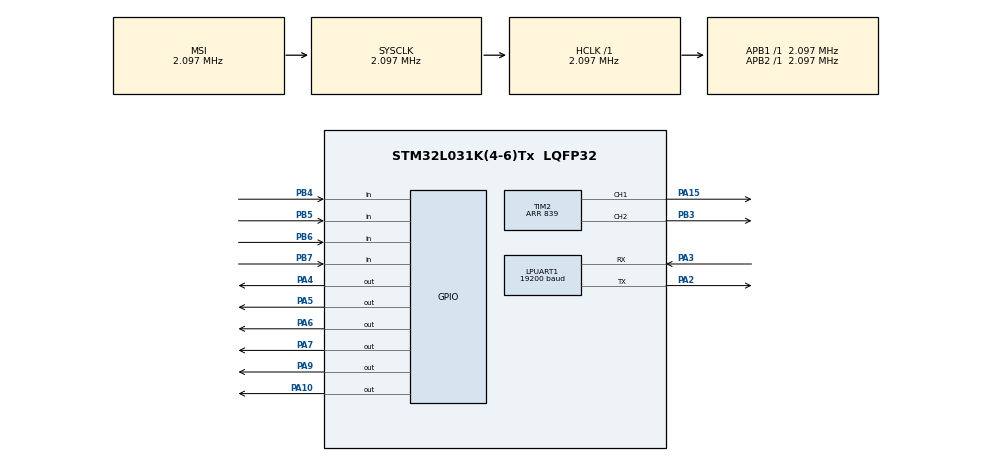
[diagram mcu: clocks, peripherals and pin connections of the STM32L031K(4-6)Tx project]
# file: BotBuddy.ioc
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LPUART1.BaudRate=19200
LPUART1.WordLength=UART_WORDLENGTH_8B
Mcu.Family=STM32L0
Mcu.Name=STM32L031K(4-6)Tx
Mcu.Package=LQFP32
PA10.Signal=GPIO_Output
PA15.Signal=S_TIM2_CH1
PA2.Mode=Asynchronous
PA2.Signal=LPUART1_TX
PA3.Mode=Asynchronous
PA3.Signal=LPUART1_RX
PA4.GPIO_Speed=GPIO_SPEED_FREQ_LOW
PA4.PinState=GPIO_PIN_RESET
PA4.Signal=GPIO_Output
PA5.GPIO_Speed=GPIO_SPEED_FREQ_LOW
PA5.PinState=GPIO_PIN_RESET
PA5.Signal=GPIO_Output
PA6.GPIO_Speed=GPIO_SPEED_FREQ_LOW
PA6.PinState=GPIO_PIN_RESET
PA6.Signal=GPIO_Output
PA7.GPIO_Speed=GPIO_SPEED_FREQ_LOW
PA7.PinState=GPIO_PIN_RESET
PA7.Signal=GPIO_Output
PA9.Signal=GPIO_Output
PB3.Signal=S_TIM2_CH2
PB4.Signal=GPIO_Input
PB5.Signal=GPIO_Input
PB6.Signal=GPIO_Input
PB7.Signal=GPIO_Input
ProjectManager.HeapSize=0x200
ProjectManager.StackSize=0x400
ProjectManager.TargetToolchain=STM32CubeIDE
RCC.AHBFreq_Value=2097000
RCC.APB1Freq_Value=2097000
RCC.APB1TimFreq_Value=2097000
RCC.APB2Freq_Value=2097000
RCC.APB2TimFreq_Value=2097000
RCC.HSE_VALUE=8000000
RCC.HSI16_VALUE=16000000
RCC.HSI_VALUE=16000000
RCC.LSE_VALUE=32768
RCC.MSI_VALUE=2097000
RCC.SYSCLKFreq_VALUE=2097000
RCC.VCOOutputFreq_Value=48000000
SH.S_TIM2_CH1.0=TIM2_CH1,PWM Generation1 CH1
SH.S_TIM2_CH2.0=TIM2_CH2,PWM Generation2 CH2
TIM2.Channel-PWM\ Generation1\ CH1=TIM_CHANNEL_1
TIM2.Channel-PWM\ Generation2\ CH2=TIM_CHANNEL_2
TIM2.Period=839
board=custom

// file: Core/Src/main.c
/* USER CODE BEGIN Header */
/**
  ******************************************************************************
  * @file           : main.c
  * @brief          : Main program body
  ******************************************************************************
  * @attention
  *
  * Copyright (c) 2024 STMicroelectronics.
  * All rights reserved.
  *
  * This software is licensed under terms that can be found in the LICENSE file
  * in the root directory of this software component.
  * If no LICENSE file comes with this software, it is provided AS-IS.
  *
  ******************************************************************************
  */
/* USER CODE END Header */
#include "main.h"

/* USER CODE BEGIN PD */
#define PWM_PERIOD	839

/* Define constants for our movements */
#define FORWARD		0
#define BACKWARD	1
#define LEFT		2
#define RIGHT		3
#define STOP		4
#define SPEED_CHANGE 5

/* POWER = 0 means off and POWER = 1 ON */
#define POWER 	16

/* USER CODE END PD */

/* USER CODE BEGIN PM */
/* Create Global Struct for the BotBuddy */
typedef struct {
	unsigned char power;
	volatile unsigned char button_state; // each bit represents [X, X, X, power, forward, backward, left, right]
	volatile int read_flag; // read flag to indicate that we want to decode a value from the receiver
	volatile unsigned char read_buf; // read buffer to update the buttons state with
	unsigned int rot_speed; // how fast our motor is spinning
}Bot_Buddy;

volatile int speed_array[] = {50, 75, 100}; // [X, X, X, X, write, t2, t1, t0]
volatile int speed_idx = 0;

/* USER CODE END PM */

UART_HandleTypeDef hlpuart1;

TIM_HandleTypeDef htim2;

/* USER CODE BEGIN PV */

/* define our struct */
Bot_Buddy b_buddy;

/* USER CODE END PV */

void SystemClock_Config(void);
static void MX_GPIO_Init(void);
static void MX_TIM2_Init(void);
static void MX_LPUART1_UART_Init(void);
/* USER CODE BEGIN PFP */

void event_loop(void);
static void BT_BUDDY_Init(void);
static void RUN_MOTOR(void);
static void READ_CONTROLLER(void);
static void DECODE_CONTROLLER(void);

/* USER CODE END PFP */

int main(void)
{

  /* MCU Configuration--------------------------------------------------------*/

  /* Reset of all peripherals, Initializes the Flash interface and the Systick. */
  HAL_Init();

  /* USER CODE BEGIN Init */

  /* Initialize our bot buddy */
   BT_BUDDY_Init();

  /* USER CODE END Init */

  /* Configure the system clock */
  SystemClock_Config();

  /* Initialize all configured peripherals */
  MX_GPIO_Init();
  MX_TIM2_Init();
  MX_LPUART1_UART_Init();
  /* USER CODE BEGIN 2 */
  RUN_MOTOR();
  event_loop();
  /* USER CODE END 2 */

  /* Infinite loop */
  while (1)
  {

  }
}

void SystemClock_Config(void)
{
  RCC_OscInitTypeDef RCC_OscInitStruct = {0};
  RCC_ClkInitTypeDef RCC_ClkInitStruct = {0};
  RCC_PeriphCLKInitTypeDef PeriphClkInit = {0};

  /** Configure the main internal regulator output voltage
  */
  __HAL_PWR_VOLTAGESCALING_CONFIG(PWR_REGULATOR_VOLTAGE_SCALE1);

  /** Initializes the RCC Oscillators according to the specified parameters
  * in the RCC_OscInitTypeDef structure.
  */
  RCC_OscInitStruct.OscillatorType = RCC_OSCILLATORTYPE_MSI;
  RCC_OscInitStruct.MSIState = RCC_MSI_ON;
  RCC_OscInitStruct.MSICalibrationValue = 0;
  RCC_OscInitStruct.MSIClockRange = RCC_MSIRANGE_5;
  RCC_OscInitStruct.PLL.PLLState = RCC_PLL_NONE;
  if (HAL_RCC_OscConfig(&RCC_OscInitStruct) != HAL_OK)
  {
    Error_Handler();
  }

  /** Initializes the CPU, AHB and APB buses clocks
  */
  RCC_ClkInitStruct.ClockType = RCC_CLOCKTYPE_HCLK|RCC_CLOCKTYPE_SYSCLK
                              |RCC_CLOCKTYPE_PCLK1|RCC_CLOCKTYPE_PCLK2;
  RCC_ClkInitStruct.SYSCLKSource = RCC_SYSCLKSOURCE_MSI;
  RCC_ClkInitStruct.AHBCLKDivider = RCC_SYSCLK_DIV1;
  RCC_ClkInitStruct.APB1CLKDivider = RCC_HCLK_DIV1;
  RCC_ClkInitStruct.APB2CLKDivider = RCC_HCLK_DIV1;

  if (HAL_RCC_ClockConfig(&RCC_ClkInitStruct, FLASH_LATENCY_0) != HAL_OK)
  {
    Error_Handler();
  }
  PeriphClkInit.PeriphClockSelection = RCC_PERIPHCLK_LPUART1;
  PeriphClkInit.Lpuart1ClockSelection = RCC_LPUART1CLKSOURCE_PCLK1;
  if (HAL_RCCEx_PeriphCLKConfig(&PeriphClkInit) != HAL_OK)
  {
    Error_Handler();
  }
}

static void MX_LPUART1_UART_Init(void)
{

  hlpuart1.Instance = LPUART1;
  hlpuart1.Init.BaudRate = 19200;
  hlpuart1.Init.WordLength = UART_WORDLENGTH_8B;
  hlpuart1.Init.StopBits = UART_STOPBITS_1;
  hlpuart1.Init.Parity = UART_PARITY_NONE;
  hlpuart1.Init.Mode = UART_MODE_TX_RX;
  hlpuart1.Init.HwFlowCtl = UART_HWCONTROL_NONE;
  hlpuart1.Init.OneBitSampling = UART_ONE_BIT_SAMPLE_DISABLE;
  hlpuart1.AdvancedInit.AdvFeatureInit = UART_ADVFEATURE_NO_INIT;
  if (HAL_UART_Init(&hlpuart1) != HAL_OK)
  {
    Error_Handler();
  }

}

static void MX_TIM2_Init(void)
{

  TIM_MasterConfigTypeDef sMasterConfig = {0};
  TIM_OC_InitTypeDef sConfigOC = {0};

  htim2.Instance = TIM2;
  htim2.Init.Prescaler = 0;
  htim2.Init.CounterMode = TIM_COUNTERMODE_UP;
  htim2.Init.Period = 839;
  htim2.Init.ClockDivision = TIM_CLOCKDIVISION_DIV1;
  htim2.Init.AutoReloadPreload = TIM_AUTORELOAD_PRELOAD_DISABLE;
  if (HAL_TIM_PWM_Init(&htim2) != HAL_OK)
  {
    Error_Handler();
  }
  sMasterConfig.MasterOutputTrigger = TIM_TRGO_RESET;
  sMasterConfig.MasterSlaveMode = TIM_MASTERSLAVEMODE_DISABLE;
  if (HAL_TIMEx_MasterConfigSynchronization(&htim2, &sMasterConfig) != HAL_OK)
  {
    Error_Handler();
  }
  sConfigOC.OCMode = TIM_OCMODE_PWM1;
  sConfigOC.Pulse = 0;
  sConfigOC.OCPolarity = TIM_OCPOLARITY_HIGH;
  sConfigOC.OCFastMode = TIM_OCFAST_DISABLE;
  if (HAL_TIM_PWM_ConfigChannel(&htim2, &sConfigOC, TIM_CHANNEL_1) != HAL_OK)
  {
    Error_Handler();
  }
  if (HAL_TIM_PWM_ConfigChannel(&htim2, &sConfigOC, TIM_CHANNEL_2) != HAL_OK)
  {
    Error_Handler();
  }
  HAL_TIM_MspPostInit(&htim2);

}

static void MX_GPIO_Init(void)
{
  GPIO_InitTypeDef GPIO_InitStruct = {0};

  /* GPIO Ports Clock Enable */
  __HAL_RCC_GPIOA_CLK_ENABLE();
  __HAL_RCC_GPIOB_CLK_ENABLE();

  /*Configure GPIO pin Output Level */
  HAL_GPIO_WritePin(GPIOA, GPIO_PIN_4|GPIO_PIN_5|GPIO_PIN_6|GPIO_PIN_7
                          |GPIO_PIN_9|GPIO_PIN_10, GPIO_PIN_RESET);

  /*Configure GPIO pins : PA4 PA5 PA6 PA7
                           PA9 PA10 */
  GPIO_InitStruct.Pin = GPIO_PIN_4|GPIO_PIN_5|GPIO_PIN_6|GPIO_PIN_7
                          |GPIO_PIN_9|GPIO_PIN_10;
  GPIO_InitStruct.Mode = GPIO_MODE_OUTPUT_PP;
  GPIO_InitStruct.Pull = GPIO_NOPULL;
  GPIO_InitStruct.Speed = GPIO_SPEED_FREQ_LOW;
  HAL_GPIO_Init(GPIOA, &GPIO_InitStruct);

  /*Configure GPIO pins : PB4 PB5 PB6 PB7 */
  GPIO_InitStruct.Pin = GPIO_PIN_4|GPIO_PIN_5|GPIO_PIN_6|GPIO_PIN_7;
  GPIO_InitStruct.Mode = GPIO_MODE_INPUT;
  GPIO_InitStruct.Pull = GPIO_NOPULL;
  HAL_GPIO_Init(GPIOB, &GPIO_InitStruct);

}

/* USER CODE BEGIN 4 */

/* Event loop that handles our botbuddy when it is running */
void event_loop(void) {

	while (1) {

		while(!b_buddy.read_flag){

			READ_CONTROLLER();
		}

		DECODE_CONTROLLER();
		b_buddy.button_state = (~b_buddy.read_buf) & 0x07;

		switch(b_buddy.button_state){
			/* GPIO_PIN_11 -> write pin
			 * GPIO_PIN_10 -> t2
			 * GPIO_PIN_10 -> t1
			 * GPIO_PIN_10 -> t0
			 * Our encodings are active low because the transmitter is
			 */
			case FORWARD:
				/* set write pin, and [t2, t1, t0] = [0, 0, 0] */
				//HAL_GPIO_WritePin(GPIOA, GPIO_PIN_6 | GPIO_PIN_5 | GPIO_PIN_4, 0);
				HAL_GPIO_WritePin(GPIOA, GPIO_PIN_7 | GPIO_PIN_5, 1);
				HAL_GPIO_WritePin(GPIOA, GPIO_PIN_10 | GPIO_PIN_9, 0);

				/* Test for debugging */
				uint8_t Test1[] = "Forward!/n";
				HAL_UART_Transmit(&hlpuart1, Test1, sizeof(Test1), 10);

				break;

			case BACKWARD:
				/* set write pin, and [t2, t1, t0] = [0, 0, 1] */
//				HAL_GPIO_WritePin(GPIOA, GPIO_PIN_6 | GPIO_PIN_5, 0);
//				HAL_GPIO_WritePin(GPIOA, GPIO_PIN_4, 1);
				HAL_GPIO_WritePin(GPIOA, GPIO_PIN_10 | GPIO_PIN_9, 1);
				HAL_GPIO_WritePin(GPIOA, GPIO_PIN_7 | GPIO_PIN_5, 0);

				/* Test for debugging */
				uint8_t Test2[] = "Backward!/n";
				HAL_UART_Transmit(&hlpuart1, Test2, sizeof(Test2), 10);

				break;

			case LEFT:
				/* set write pin, and [t2, t1, t0] = [0, 1, 0] */
//				HAL_GPIO_WritePin(GPIOA, GPIO_PIN_6 | GPIO_PIN_4, 0);
//				HAL_GPIO_WritePin(GPIOA, GPIO_PIN_5, 1);
//				HAL_GPIO_WritePin(GPIOA, GPIO_PIN_9 | GPIO_PIN_5, 1);
//				HAL_GPIO_WritePin(GPIOA, GPIO_PIN_7 | GPIO_PIN_10, 0);
				HAL_GPIO_WritePin(GPIOA, GPIO_PIN_7, 1);

				/* Test for debugging */
				uint8_t Test3[] = "Left!/n";
				HAL_UART_Transmit(&hlpuart1, Test3, sizeof(Test3), 10);

				break;

			case RIGHT:
				/* set write pin, and [t2, t1, t0] = [0, 1, 1] */
//				HAL_GPIO_WritePin(GPIOA, GPIO_PIN_6, 0);
//				HAL_GPIO_WritePin(GPIOA, GPIO_PIN_5 | GPIO_PIN_4, 1);
//				HAL_GPIO_WritePin(GPIOA, GPIO_PIN_7 | GPIO_PIN_10, 1);
//				HAL_GPIO_WritePin(GPIOA, GPIO_PIN_9 | GPIO_PIN_5, 0);
				HAL_GPIO_WritePin(GPIOA, GPIO_PIN_5, 1);

				/* Test for debugging */
				uint8_t Test4[] = "Right!/n";
				HAL_UART_Transmit(&hlpuart1, Test4, sizeof(Test4), 10);

				break;

			case STOP:
				/* set write pin, and [t2, t1, t0] = [0, 1, 1] */
//				HAL_GPIO_WritePin(GPIOA, GPIO_PIN_6, 1);
//				HAL_GPIO_WritePin(GPIOA, GPIO_PIN_5 | GPIO_PIN_4, 0);
				HAL_GPIO_WritePin(GPIOA, GPIO_PIN_7 | GPIO_PIN_10 | GPIO_PIN_5 | GPIO_PIN_9, 0);

				/* Test for debugging */
				uint8_t Test5[] = "Stop!/n";
				HAL_UART_Transmit(&hlpuart1, Test5, sizeof(Test5), 10);

				break;

			case SPEED_CHANGE:
			/* set write pin, and [t2, t1, t0] = [0, 1, 1] */
//				HAL_GPIO_WritePin(GPIOA, GPIO_PIN_6, 1);
//				HAL_GPIO_WritePin(GPIOA, GPIO_PIN_5 | GPIO_PIN_4, 0);
				HAL_GPIO_WritePin(GPIOA, GPIO_PIN_7 | GPIO_PIN_10 | GPIO_PIN_5 | GPIO_PIN_9, 0);
				if(b_buddy.rot_speed >= 100) {
					b_buddy.rot_speed = 50;
				}
				else {
					b_buddy.rot_speed = b_buddy.rot_speed + 10;
				}
				/* Test for debugging */
				uint8_t Test7[] = "Speed change!/n";
				HAL_UART_Transmit(&hlpuart1, Test7, sizeof(Test7), 10);

				break;
			}

//		/* Give a delay in order for the receiver to decode and write to the motors */
//		HAL_Delay(1000);
//
//		/* reset write pin, and [t2, t1, t0] = [1, 1, 1] */
//		HAL_GPIO_WritePin(GPIOA, GPIO_PIN_7 | GPIO_PIN_6 | GPIO_PIN_5 | GPIO_PIN_4, 1);
//
//		/* extra delay just to be safe? */
//		HAL_Delay(1000);

		/* Test for debugging */
		uint8_t Test6[] = "Done!\r\n";
		HAL_UART_Transmit(&hlpuart1, Test6, sizeof(Test6), 10);

		// reset button state
		b_buddy.button_state = 0x00;
		b_buddy.read_flag = 0;
		b_buddy.read_buf = 0;

		RUN_MOTOR();
		//HAL_Delay(100);
	}
}

/* Reads our GPIO pin*/
void READ_CONTROLLER(void) {
	if (HAL_GPIO_ReadPin (GPIOB, GPIO_PIN_7)) {b_buddy.read_flag = 1;}
//	else if (HAL_GPIO_ReadPin (GPIOB, GPIO_PIN_5)) {b_buddy.button_state = BACKWARD;}
//	else if (HAL_GPIO_ReadPin (GPIOB, GPIO_PIN_6)) {b_buddy.button_state = LEFT;}
//	else if (HAL_GPIO_ReadPin (GPIOB, GPIO_PIN_7)) {b_buddy.button_state = RIGHT;}
	else {b_buddy.read_flag = 0;}
}

/* Decode the output of the reciever */
void DECODE_CONTROLLER(void) {
	if (HAL_GPIO_ReadPin (GPIOB, GPIO_PIN_6)) {b_buddy.read_buf |= 4;}
	if (HAL_GPIO_ReadPin (GPIOB, GPIO_PIN_5)) {b_buddy.read_buf |= 2;}
	if (HAL_GPIO_ReadPin (GPIOB, GPIO_PIN_4)) {b_buddy.read_buf |= 1;}
}
/* Initialization funciton for our BotBuddy */
void BT_BUDDY_Init(void) {
	b_buddy.power = 0x00;
	b_buddy.button_state = 0x00;
	b_buddy.read_flag = 0;
	b_buddy.read_buf = 0;
	b_buddy.rot_speed = 50;
}

void RUN_MOTOR(void) {
	/* RIGHT MOTOR */
	HAL_TIM_PWM_Start(&htim2, TIM_CHANNEL_2);
	__HAL_TIM_SET_COMPARE(&htim2, TIM_CHANNEL_2, (PWM_PERIOD / 100) * b_buddy.rot_speed);

	/* LEFT MOTOR */
	HAL_TIM_PWM_Start(&htim2, TIM_CHANNEL_1);
	__HAL_TIM_SET_COMPARE(&htim2, TIM_CHANNEL_1, (PWM_PERIOD / 100) * b_buddy.rot_speed);
}

/* USER CODE END 4 */

void Error_Handler(void)
{
  __disable_irq();
  while (1)
  {
  }
}
